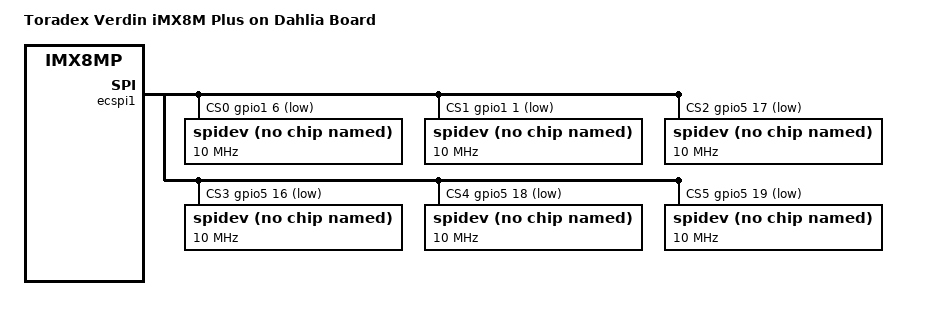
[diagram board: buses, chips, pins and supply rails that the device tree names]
/dts-v1/;

#include "imx8mp-verdin.dtsi"
#include "imx8mp-verdin-nonwifi.dtsi"
#include "imx8mp-verdin-dahlia.dtsi"

/ {
	model = "Toradex Verdin iMX8M Plus on Dahlia Board";
	compatible = "toradex,verdin-imx8mp-nonwifi-dahlia",
		     "toradex,verdin-imx8mp-nonwifi",
		     "toradex,verdin-imx8mp",
		     "fsl,imx8mp";
};

&i2c2 {
	status = "disabled";
};

&i2c3 {
	status = "disabled";
};

&usb3_1 {
	status = "disabled";
};

&usb3_phy1 {
	status = "disabled";
};

&uart2 {
	status = "disabled";
};

&iomuxc {
	pinctrl-names = "default";
	pinctrl-0 = <&pinctrl_gpio1>,
		    <&pinctrl_gpio3>,
		    <&pinctrl_gpio7>, <&pinctrl_gpio8>,
		    <&pinctrl_gpio_hog1>, <&pinctrl_gpio_hog2>, <&pinctrl_gpio_hog3>;

	pinctrl_ecspi1: ecspi1grp {
                fsl,pins =
                        <MX8MP_IOMUXC_ECSPI1_MISO__ECSPI1_MISO          0x1c4>, /* SODIMM 198 */
                        <MX8MP_IOMUXC_ECSPI1_MOSI__ECSPI1_MOSI          0x4>,   /* SODIMM 200 */
                        <MX8MP_IOMUXC_ECSPI1_SCLK__ECSPI1_SCLK          0x4>,   /* SODIMM 196 */
			<MX8MP_IOMUXC_GPIO1_IO06__GPIO1_IO06		0x184>, /* SODIMM 212 */
			<MX8MP_IOMUXC_GPIO1_IO01__GPIO1_IO01		0x1c4>,	/* SODIMM 208 */
			<MX8MP_IOMUXC_I2C2_SDA__GPIO5_IO17		0x1c4>,	/* SODIMM 53 */
			<MX8MP_IOMUXC_I2C2_SCL__GPIO5_IO16		0x1c6>,	/* SODIMM 55 */
			<MX8MP_IOMUXC_I2C3_SCL__GPIO5_IO18		0x1c6>,	/* SODIMM 95 */
			<MX8MP_IOMUXC_I2C3_SDA__GPIO5_IO19		0x1c6>;	/* SODIMM 93 */
        };
};

&ecspi1 {
	#address-cells = <1>;
	#size-cells = <0>;
	status = "okay";

	cs-gpios = <&gpio1 6 GPIO_ACTIVE_LOW>, /* FPGA CS */
		   <&gpio1 1 GPIO_ACTIVE_LOW>, /* AD7490 CS */
		   <&gpio5 17 GPIO_ACTIVE_LOW>, /* AD9613-0 CS */
		   <&gpio5 16 GPIO_ACTIVE_LOW>, /* AD9613-1 CS */
		   <&gpio5 18 GPIO_ACTIVE_LOW>, /* AD9613-2 CS */
		   <&gpio5 19 GPIO_ACTIVE_LOW>; /* AD9613-3 CS */

	/* FPGA CS */
	spidev@0 {
		/* Use compatible "rohm,dh2228fv" to bind spidev driver */
		compatible = "rohm,dh2228fv";
		reg = <0>;
		spi-max-frequency = <10000000>;
	};

	/* AD7490 CS */
	spidev@1 {
		/* Use compatible "rohm,dh2228fv" to bind spidev driver */
		compatible = "rohm,dh2228fv";
		reg = <1>;
		spi-max-frequency = <10000000>;
	};

	/* AD9613-0 CS */
	spidev@2 {
		/* Use compatible "rohm,dh2228fv" to bind spidev driver */
		compatible = "rohm,dh2228fv";
		reg = <2>;
		spi-max-frequency = <10000000>;
	};

	/* AD9613-1 CS */
	spidev@3 {
		/* Use compatible "rohm,dh2228fv" to bind spidev driver */
		compatible = "rohm,dh2228fv";
		reg = <3>;
		spi-max-frequency = <10000000>;
	};

	/* AD9613-2 CS */
	spidev@4 {
		/* Use compatible "rohm,dh2228fv" to bind spidev driver */
		compatible = "rohm,dh2228fv";
		reg = <4>;
		spi-max-frequency = <10000000>;
	};

	/* AD9613-3 CS */
	spidev@5 {
		/* Use compatible "rohm,dh2228fv" to bind spidev driver */
		compatible = "rohm,dh2228fv";
		reg = <5>;
		spi-max-frequency = <10000000>;
	};
};
